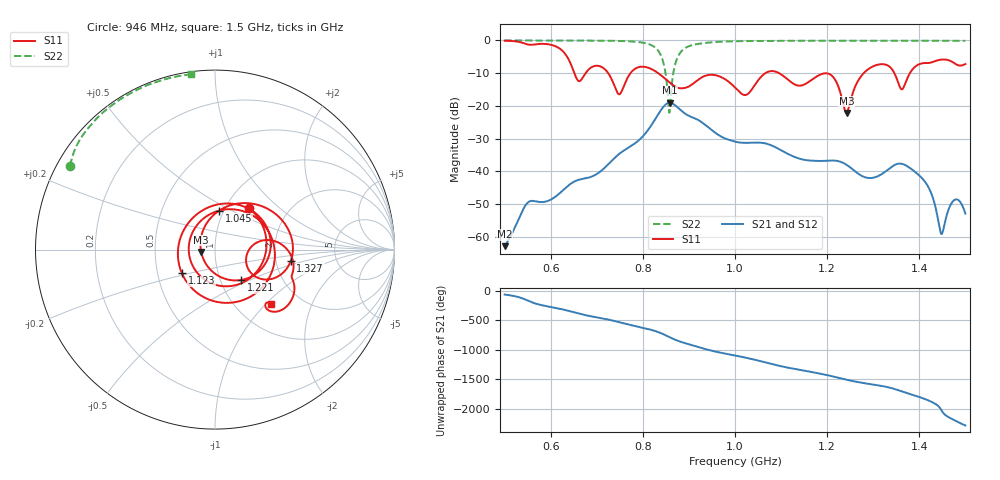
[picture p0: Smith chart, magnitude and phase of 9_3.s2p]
! TOUCHSTONE file generated by CST MICROWAVE STUDIO
! Date and time: Fri Dec 11 13:54:28 2020
! Project name: Scenario_1_Planar_Body_Tissue_Out_of_Line_v2.cst
! Parameters = {dy1=-207.6; L_HA=400; Ltissue=700; MT=2.54; Rad_Dielectric=30; Rad_Lower=7.3; Rad_Upper=30; Wtissue=700; a_HA=580; a_WG=246; b_HA=500; b_WG=121; c_HA=0; c_WG=187; d_feed=85; dx1=520; h_feed=15; h_lower=18; h_upper=40; hfat=3; hgap=25; hmuscle=50; hskin=1.5}
! Header version: 2018
! Port assignment regex: !\s*Touchstone port\s*([0-9]+)\s*=\s*(CST MWS port|CST DS port)\s*([0-9]+|Zmin|Zmax)\s*\(\"(.*)\"\)(\s*mode\s*([0-9]+))?.*
! Touchstone port assignment:
! Touchstone port 1 = CST MWS port 1 ("")
! Touchstone port 2 = CST MWS port 2 ("")
# GHz S DB R 50
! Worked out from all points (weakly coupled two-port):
!   1003 points, 500 MHz to 1.5 GHz, reference 50 ohm
!   highest |S21| = -19.05 dB at 858 MHz (marker M1); lowest = -62.9 dB at 500 MHz (marker M2)
!   lowest |S11| = -22.2 dB at 1.242 GHz (marker M3), VSWR 1.17, Z = 42.9 - j1.19 ohm
!   |S11| at or under -10 dB: 724.8 MHz to 773.1 MHz (48.38 MHz wide, 6.46 % of centre); 833.2 MHz to 1.066 GHz (232.7 MHz wide, 24.5 % of centre); 1.096 GHz to 1.279 GHz (183.7 MHz wide, 15.5 % of centre) (the widest 3 of 5)
!   |S22| runs from -22.1 to 0.0 dB; largest |S21 - S12| = 8.7e-06
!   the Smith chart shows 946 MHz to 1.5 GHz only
!   S11 on the Smith chart (normalised r, x): 946 MHz: 1.29, +0.65; 1.045 GHz: 0.95, +0.43; 1.123 GHz: 0.67, -0.19; 1.221 GHz: 1.26, -0.45; 1.327 GHz: 2.42, -0.37; 1.5 GHz: 1.44, -1.07
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0.5  -0.09 -122.0  -62.89 -61.1  -62.89 -61.1  -0.01 151.2
0.598  -1.25 -175.2  -48.80 91.3  -48.80 91.3  -0.02 144.3
0.667  -11.89 165.8  -42.39 -35.5  -42.39 -35.5  -0.04 138.4
0.742  -15.17 18.2  -35.50 -156.6  -35.50 -156.6  -0.14 128.9
0.788  -8.31 163.2  -30.91 115.9  -30.91 115.9  -0.46 117.6
0.834  -10.08 51.6  -22.43 20.7  -22.43 20.7  -3.27 83.5
0.858  -12.83 -11.6  -19.05 -64.2  -19.05 -64.2  -22.05 -63.1
0.881  -14.63 -84.2  -21.15 -139.3  -21.15 -139.3  -3.78 -174.4
0.946  -10.50 50.3  -27.01 73.3  -27.01 73.3  -0.61 150.0
1  -14.38 -94.4  -30.94 -14.5  -30.94 -14.5  -0.25 140.2
1.045  -13.22 84.0  -31.21 -90.5  -31.21 -90.5  -0.18 134.9
1.076  -9.42 -12.0  -31.91 -152.3  -31.91 -152.3  -0.14 131.9
1.123  -12.88 -144.3  -35.24 127.2  -35.24 127.2  -0.11 127.7
1.167  -11.98 86.9  -36.75 65.1  -36.75 65.1  -0.10 124.2
1.221  -13.00 -49.0  -36.81 -25.7  -36.81 -25.7  -0.09 120.0
1.242  -22.15 -169.8  -38.02 -65.2  -38.02 -65.2  -0.09 118.5
1.327  -7.39 -8.5  -40.02 176.4  -40.02 176.4  -0.08 112.0
1.334  -7.87 -17.8  -39.27 164.2  -39.27 164.2  -0.09 111.5
1.362  -14.94 -11.7  -37.72 97.2  -37.72 97.2  -0.09 109.4
1.409  -6.94 -13.6  -42.61 -23.1  -42.61 -23.1  -0.10 105.7
1.448  -5.86 -32.4  -59.21 137.7  -59.20 137.7  -0.11 102.5
1.5  -7.22 -44.1  -52.93 -120.5  -52.93 -120.4  -0.13 97.9
